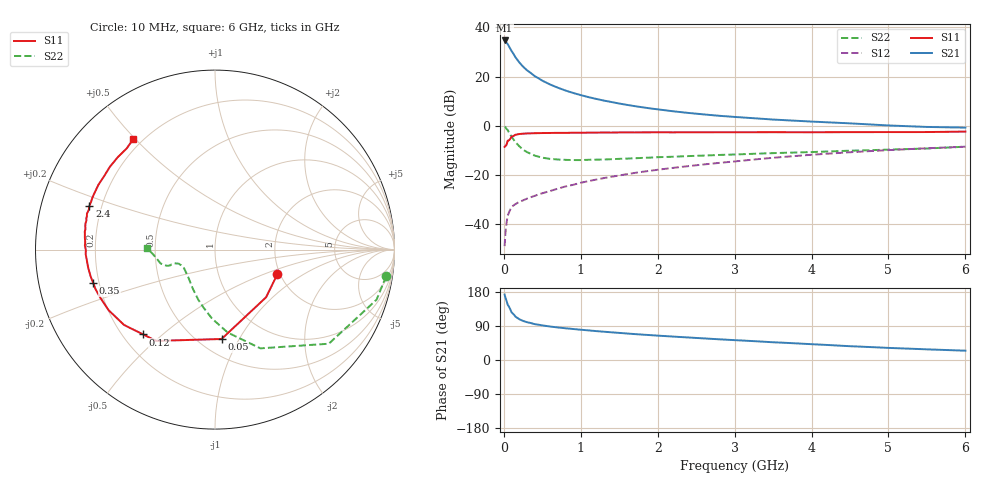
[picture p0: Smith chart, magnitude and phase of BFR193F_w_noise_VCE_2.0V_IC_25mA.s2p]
! Infineon Technologies  Discrete & RF Semiconductors
! BFR193F
! VCE =  2.0 V,  IC =  25 mA
! Common Emitter S-Parameters:  Jan 2017
# GHz  S  MA  R  50
!  f  S11  S21  S12  S22
! GHz  MAG  ANG  MAG  ANG  MAG  ANG  MAG  ANG
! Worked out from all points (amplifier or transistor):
!   77 points, 10 MHz to 6 GHz, reference 50 ohm
!   highest |S21| = 34.7 dB at 10 MHz (marker M1)
!   |S21| within 3 dB of that: start of sweep to 77.22 MHz
!   unconditionally stable (mu >= 1): 1.09 GHz to 2.808 GHz
!   at 130 MHz: K = 0.35, MSG = 30.6 dB, |S12| = -32.3 dB
!   at 2.2 GHz: K = 1.03, MAG = 10.5 dB, |S12| = -17.1 dB
!   at 6 GHz: K = 0.88, MSG = 3.9 dB, |S12| = -8.5 dB
!   lowest NFmin = 1.11 dB at 450 MHz
!   S11 on the Smith chart (normalised r, x): 10 MHz: 1.93, -0.62; 50 MHz: 0.64, -0.85; 120 MHz: 0.28, -0.43; 350 MHz: 0.18, -0.13; 2.4 GHz: 0.15, +0.17; 6 GHz: 0.17, +0.49
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0.01  0.3736 -21.7  54.2 172.8  0.0036 83.9  0.965 -8.8
0.02  0.3893 -43.0  52.99 164.9  0.0064 76.8  0.9426 -17.2
0.05  0.4995 -85.8  45.84 146.0  0.015 62.7  0.8228 -39.6
0.1  0.605 -122.8  33.23 125.7  0.0225 49.9  0.6055 -65.3
0.12  0.6191 -130.2  29.76 122.0  0.0238 48.5  0.5455 -70.7
0.15  0.6581 -140.4  24.85 114.7  0.0257 46.7  0.4674 -81.3
0.2  0.6821 -150.3  19.5 107.7  0.0287 45.5  0.3852 -92.4
0.25  0.6929 -157.2  15.94 103.2  0.0307 46.9  0.3273 -101.6
0.3  0.7011 -161.6  13.48 99.8  0.0332 48.8  0.2936 -108.6
0.35  0.7039 -164.8  11.86 97.6  0.0355 50.9  0.2701 -113.8
0.4  0.7089 -168.0  10.26 94.7  0.0378 52.7  0.2492 -119.9
0.5  0.7139 -172.0  8.272 91.3  0.0428 55.5  0.2257 -128.2
0.6  0.7166 -175.3  6.931 88.4  0.0474 58.2  0.2133 -134.8
0.8  0.7194 -179.8  5.222 83.8  0.0587 62.1  0.2039 -144.2
1.1  0.7279 174.9  3.832 78.1  0.0753 65.7  0.2044 -151.8
1.5  0.7345 169.7  2.84 71.5  0.0981 68.6  0.2136 -157.5
2.1  0.7389 163.4  2.068 63.1  0.1341 69.4  0.2333 -160.7
2.4  0.7409 160.7  1.828 59.4  0.152 69.5  0.243 -161.2
3.1  0.7417 154.6  1.481 51.4  0.1962 68.6  0.2655 -160.7
4.1  0.7415 145.5  1.201 40.7  0.2648 64.7  0.2974 -163.4
5.1  0.747 135.4  1.004 31.2  0.3271 59.0  0.3321 -172.2
6  0.7652 126.7  0.921 24.6  0.3771 53.6  0.3772 179.0
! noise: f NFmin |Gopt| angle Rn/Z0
0.45  1.11  0.36  173  0.06
0.9  1.19  0.41  174  0.06
1.9  1.77  0.57  -169  0.07
2.4  2.06  0.61  -160  0.11
